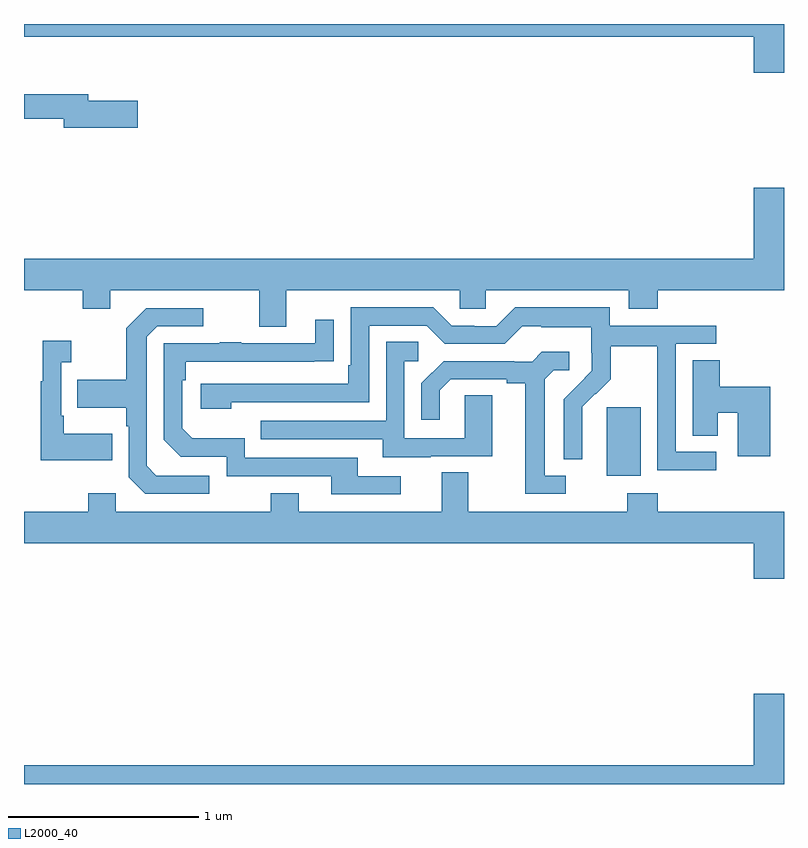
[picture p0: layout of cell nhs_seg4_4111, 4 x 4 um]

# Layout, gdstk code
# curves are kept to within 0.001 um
import gdstk
lib = gdstk.Library(unit=1e-6, precision=1e-09)
def R(c, l, rs):  # rectangles x0, y0, x1, y1
    for r in rs: c.add(gdstk.rectangle(r[:2], r[2:], *l))
def P(c, l, *ps):  # polygons
    for p in ps: c.add(gdstk.Polygon(p, *l))
L2000_40 = (2000, 40)

nhs_seg4_4111 = lib.new_cell('nhs_seg4_4111')
R(nhs_seg4_4111, L2000_40, [(332.066,782.522,332.245,782.883)])
P(nhs_seg4_4111, L2000_40, [(329,784.832),(332.84,784.832),(332.84,784.644),(333,784.644),(333,784.9),(329,784.9)],
  [(329.599,784.497),(329.338,784.497),(329.338,784.531),(329,784.531),(329,784.402),(329.21,784.402),(329.21,784.355),(329.599,784.355)],
  [(330.379,783.5),(331.293,783.5),(331.293,783.402),(331.431,783.402),(331.431,783.5),(332.183,783.5),(332.183,783.401),(332.336,783.401),(332.336,783.5),(333,783.5),(333,784.039),(332.84,784.039),(332.84,783.664),(329,783.664),(329,783.5),(329.308,783.5),(329.308,783.401),(329.455,783.401),(329.455,783.5),(330.239,783.5),(330.239,783.306),(330.379,783.306)],
  [(332.644,782.649),(332.43,782.649),(332.43,783.216),(332.644,783.216),(332.644,783.312),(332.082,783.312),(332.082,783.409),(331.585,783.409),(331.485,783.309),(331.37,783.309),(331.37,783.312),(331.251,783.312),(331.155,783.408),(330.72,783.408),(330.72,783.103),(330.707,783.103),(330.707,783.006),(329.931,783.006),(329.931,782.876),(330.092,782.876),(330.092,782.91),(330.816,782.91),(330.816,783.312),(331.119,783.312),(331.215,783.216),(331.53,783.216),(331.623,783.309),(331.723,783.309),(331.723,783.305),(331.986,783.305),(331.986,783.171),(331.988,783.171),(331.988,783.074),(331.842,782.926),(331.842,782.608),(331.938,782.608),(331.937,782.885),(332.007,782.955),(332.01,782.952),(332.087,783.029),(332.087,783.204),(332.332,783.204),(332.332,782.98),(332.334,782.98),(332.334,782.551),(332.644,782.551)],
  [(329.974,782.523),(329.697,782.523),(329.646,782.574),(329.646,783.255),(329.7,783.309),(329.944,783.309),(329.944,783.405),(329.643,783.405),(329.538,783.299),(329.538,783.027),(329.281,783.027),(329.281,782.879),(329.538,782.879),(329.538,782.783),(329.55,782.783),(329.55,782.514),(329.637,782.427),(329.974,782.427)],
  [(330.982,782.52),(330.757,782.52),(330.757,782.616),(330.162,782.616),(330.162,782.719),(329.885,782.719),(329.832,782.772),(329.832,783.026),(329.852,783.026),(329.852,783.123),(330.629,783.124),(330.629,783.343),(330.533,783.343),(330.533,783.219),(330.143,783.219),(330.143,783.224),(330.031,783.224),(330.031,783.219),(329.736,783.219),(329.736,782.712),(329.826,782.622),(330.066,782.622),(330.066,782.52),(330.617,782.52),(330.617,782.424),(330.982,782.424)],
  [(329.465,782.743),(329.209,782.743),(329.209,782.839),(329.196,782.839),(329.196,783.119),(329.248,783.119),(329.248,783.232),(329.099,783.232),(329.099,783.019),(329.088,783.019),(329.088,782.603),(329.465,782.603)],
  [(331.141,782.625),(331.465,782.625),(331.465,782.945),(331.32,782.945),(331.32,782.721),(331.002,782.721),(331.002,783.126),(331.075,783.126),(331.075,783.227),(330.906,783.227),(330.906,782.811),(330.247,782.811),(330.247,782.715),(330.887,782.715),(330.887,782.621),(331.141,782.621)],
  [(331.852,782.523),(331.741,782.523),(331.741,783.031),(331.788,783.078),(331.87,783.078),(331.87,783.175),(331.726,783.175),(331.674,783.123),(331.58,783.123),(331.58,783.126),(331.208,783.126),(331.092,783.01),(331.092,782.817),(331.189,782.817),(331.189,782.973),(331.246,783.03),(331.541,783.03),(331.541,783.008),(331.637,783.008),(331.637,782.427),(331.852,782.427)],
  [(332.927,782.99),(332.663,782.99),(332.663,783.131),(332.519,783.131),(332.519,782.734),(332.65,782.734),(332.65,782.855),(332.756,782.855),(332.756,782.625),(332.927,782.625)],
  [(332.84,781.98),(333,781.98),(333,782.332),(332.336,782.332),(332.336,782.431),(332.176,782.431),(332.176,782.332),(331.339,782.332),(331.339,782.54),(331.199,782.54),(331.199,782.332),(330.445,782.332),(330.445,782.431),(330.298,782.431),(330.298,782.332),(329.484,782.332),(329.484,782.431),(329.338,782.431),(329.338,782.332),(329,782.332),(329,782.168),(332.84,782.168)],
  [(333,781.375),(332.84,781.375),(332.84,781),(329,781),(329,780.9),(333,780.9)])

lib.write_gds('nhs_seg4_4111.gds')
